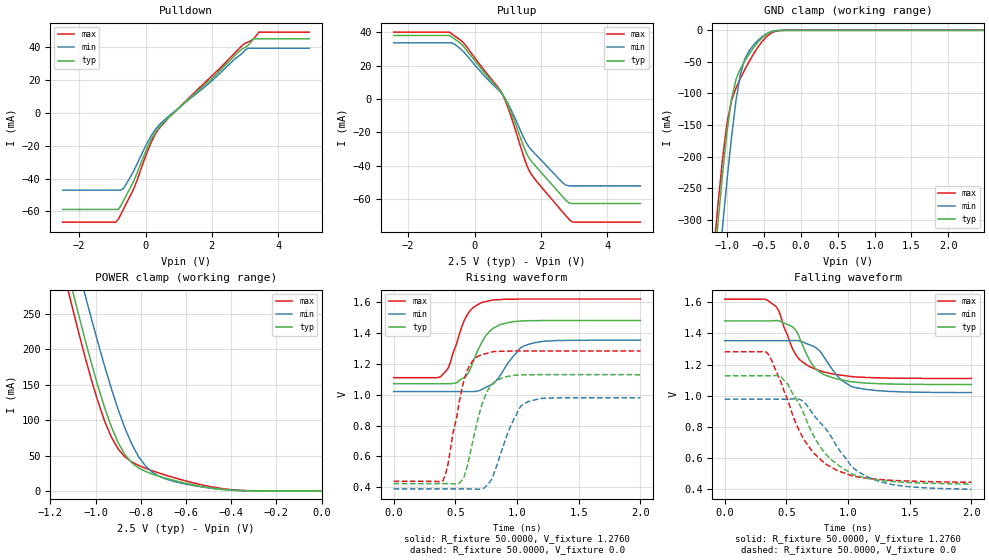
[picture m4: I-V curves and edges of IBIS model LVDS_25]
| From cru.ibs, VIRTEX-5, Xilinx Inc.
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|   Model LVDS_25
[Model]  LVDS_25
Model_type I/O
Polarity   Non-Inverting
Enable   Active-Low
Vinl = 1.025
Vinh = 1.375
Vmeas =  1.2000V
Cref =   0.0F
Rref =   50.0000
Vref =   1.2000V
C_comp   6.0000pF   6.0000pF   6.0000pF
[Model Spec]
Vinl   1.025   0.125   2.025
Vinh   1.375   0.475   2.375
[Temperature Range]   25.0000   85.0000   0.0
[Voltage Range]   2.5000V   2.3750V   2.6250V
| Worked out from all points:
|   slope of the pulldown table from 0 to 0.375 V, typ, clamps not added: 26.5 ohm
|   slope of the pullup table from 0 to 0.375 V, typ, clamps not added: 40.6 ohm
|   GND clamp passes 1 mA (typ) near -0.36 V on its own axis
|   POWER clamp passes 1 mA (typ) near -0.40 V on its own axis
|   rising waveform, R_fixture 50.0000, V_fixture 1.2760: 20-80 % time 151ps typ, 183ps min, 136ps max; typ from 1.07 V to 1.48 V
|   rising waveform, R_fixture 50.0000, V_fixture 0.0: 20-80 % time 136ps typ, 169ps min, 126ps max; typ from 0.424 V to 1.13 V
|   falling waveform, R_fixture 50.0000, V_fixture 1.2760: 20-80 % time 176ps typ, 199ps min, 187ps max; typ from 1.48 V to 1.07 V
|   falling waveform, R_fixture 50.0000, V_fixture 0.0: 20-80 % time 320ps typ, 342ps min, 307ps max; typ from 1.13 V to 0.433 V
[Pulldown]
|Voltage   I(typ)   I(min)   I(max)
-2.5V     -58.82mA   -47.05mA   -66.6mA
-900mV    -58.82mA   -47.05mA   -66.6mA
-820mV    -58.82mA   -47.05mA   -64.85mA
-660mV    -53.37mA   -45.95mA   -58.5mA
-340mV    -40.92mA   -34.74mA   -45.56mA
140mV     -17.54mA   -15.04mA   -19.39mA
380mV     -9.514mA   -7.999mA   -10.28mA
2.86V     38.17mA    35.34mA    40mA
3.1V      41.29mA    39.39mA    43.24mA
3.26V     45.13mA    39.39mA    45.21mA
3.42V     45.13mA    39.39mA    49.24mA
4.94V     45.13mA    39.39mA    49.24mA
[Pullup]
|Voltage   I(typ)   I(min)   I(max)
-2.44V    38.01mA    33.58mA    40.03mA
-760mV    38.01mA    33.58mA    40.03mA
-600mV    35.9mA     32.75mA    37.71mA
-360mV    32.07mA    28.81mA    34.15mA
840mV     3.045mA    2.653mA    2.889mA
1.08V     -6.986mA   -5.606mA   -9.306mA
1.56V     -32.36mA   -26.41mA   -39.01mA
1.72V     -37.47mA   -30.68mA   -45.41mA
2.68V     -59.05mA   -50.6mA    -68.29mA
2.84V     -62.19mA   -52.05mA   -71.92mA
2.92V     -62.65mA   -52.11mA   -73.44mA
5V        -62.65mA   -52.11mA   -73.84mA
[GND_clamp]
|Voltage   I(typ)   I(min)   I(max)
-2.5V     -2.205A    -2.204A    -2.216A
-1.18V    -378.9mA   -462.7mA   -348.6mA
-1.12V    -300mA     -384.8mA   -271.2mA
-1.06V    -225.9mA   -308.6mA   -201.3mA
-1V       -159.8mA   -235.9mA   -145.6mA
-940mV    -108.6mA   -168.9mA   -111.1mA
-880mV    -77.83mA   -111.6mA   -91.37mA
-820mV    -60.88mA   -69.68mA   -76.15mA
-700mV    -37.32mA   -32.15mA   -49.15mA
-460mV    -5.634mA   -4.923mA   -9.418mA
-220mV    -16.94uA   -28.82uA   -46.49uA
2.48V     18.3nA     756.7nA    38.49nA
[POWER_clamp]
|Voltage   I(typ)   I(min)   I(max)
-2.49V    2.064A     2.03A      2.088A
-1.14V    332.1mA    390.5mA    308.4mA
-1.11V    293.9mA    354.2mA    269.3mA
-1.08V    255.9mA    317.9mA    230.9mA
-1.05V    218.6mA    281.8mA    194mA
-960mV    118.1mA    176.7mA    99.03mA
-900mV    68.31mA    115.3mA    59.3mA
-810mV    32.62mA    48.69mA    36.12mA
-750mV    23.96mA    26.81mA    28.67mA
-660mV    15.5mA     13.99mA    19.47mA
-480mV    3.661mA    3.472mA    5.36mA
0V        19.95nA    100nA      43.67nA
[Ramp]
| variable   typ   min   max
dV/dt_r  0.4231/0.1360n   0.3541/0.1690n   0.5065/0.1160n
dV/dt_f  0.1662/85.6439p   0.1362/0.1020n   0.2046/76.2034p
R_load = 50.0000
[Rising Waveform]
R_fixture= 50.0000
V_fixture= 1.2760
V_fixture_min= 1.1870
V_fixture_max= 1.3650
|time   V(typ)   V(min)   V(max)
0s        1.071V     1.02V      1.11V
380ps     1.071V     1.02V      1.116V
440ps     1.071V     1.02V      1.169V
590ps     1.123V     1.02V      1.508V
710ps     1.332V     1.032V     1.596V
790ps     1.419V     1.064V     1.61V
870ps     1.456V     1.131V     1.616V
1.03ns    1.477V     1.304V     1.619V
1.11ns    1.479V     1.33V      1.619V
2ns       1.48V      1.353V     1.619V
[Rising Waveform]
R_fixture= 50.0000
V_fixture= 0.0
|time   V(typ)   V(min)   V(max)
0s        423.9mV    389.4mV    438.9mV
400ps     423.9mV    389.4mV    443.1mV
440ps     423.9mV    389.4mV    547.3mV
570ps     465.6mV    389.4mV    1.093V
610ps     583.7mV    389.4mV    1.181V
690ps     865.3mV    388mV      1.251V
810ps     1.077V     482.9mV    1.279V
930ps     1.119V     761.5mV    1.282V
1.05ns    1.128V     937.3mV    1.283V
2ns       1.129V     979.5mV    1.283V
[Falling Waveform]
R_fixture= 50.0000
V_fixture= 1.2760
V_fixture_min= 1.1870
V_fixture_max= 1.3650
|time   V(typ)   V(min)   V(max)
0s        1.48V      1.353V     1.619V
320ps     1.48V      1.353V     1.62V
400ps     1.481V     1.353V     1.582V
440ps     1.48V      1.353V     1.542V
590ps     1.402V     1.354V     1.248V
690ps     1.226V     1.326V     1.186V
770ps     1.152V     1.288V     1.161V
910ps     1.108V     1.13V      1.135V
1.03ns    1.089V     1.058V     1.123V
2ns       1.072V     1.02V      1.111V
[Falling Waveform]
R_fixture= 50.0000
V_fixture= 0.0
|time   V(typ)   V(min)   V(max)
0s        1.128V     977.7mV    1.282V
340ps     1.128V     977.7mV    1.278V
460ps     1.119V     977.6mV    1.078V
510ps     1.076V     977.7mV    977mV
630ps     905.8mV    967.2mV    736.4mV
770ps     677.6mV    830.5mV    596.2mV
910ps     561.1mV    674.7mV    520.8mV
1.03ns    498.5mV    544.1mV    486.7mV
1.25ns    458mV      450.2mV    462.9mV
2ns       432.9mV    400.5mV    444.5mV
